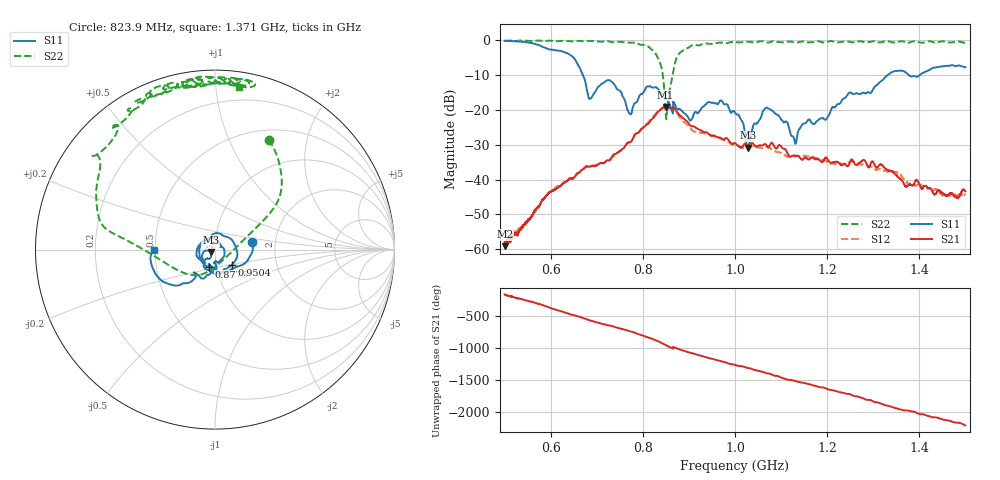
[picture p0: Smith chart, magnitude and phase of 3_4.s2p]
!Agilent Technologies,E8364B,US42250235,A.06.04.32
!Agilent E8364B: A.06.04.32
!Date: Thursday, October 01, 2020 11:11:46
!Correction: S11(Full 2 Port(1,2)) S21(Full 2 Port(1,2)) S12(Full 2 Port(1,2)) S22(Full 2 Port(1,2))
!S2P File: Measurements: S11, S21, S12, S22:
# Hz S  dB  R 50
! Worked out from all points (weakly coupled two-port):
!   2650 points, 500 MHz to 1.5 GHz, reference 50 ohm
!   highest |S21| = -19.16 dB at 849.2 MHz (marker M1); lowest = -59.1 dB at 500.4 MHz (marker M2)
!   lowest |S11| = -30.9 dB at 1.028 GHz (marker M3), VSWR 1.06, Z = 47.6 - j1.47 ohm
!   |S11| at or under -10 dB: 669.6 MHz to 1.332 GHz (662.3 MHz wide, 66.2 % of centre); 1.377 GHz to 1.401 GHz (24.68 MHz wide, 1.78 % of centre)
!   |S22| runs from -22.7 to -0.1 dB; largest |S21 - S12| = 0.047
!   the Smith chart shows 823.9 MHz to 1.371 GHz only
!   S11 on the Smith chart (normalised r, x): 823.9 MHz: 1.50, +0.14; 877.5 MHz: 0.92, -0.18; 950.4 MHz: 1.19, -0.20; 1.371 GHz: 0.49, -0.00
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5e8  -0.23 -175.2  -57.96 -172.8  -57.64 -162.0  -0.25 136.3
5.003775e8  -0.23 -175.3  -59.09 -174.3  -57.67 -166.1  -0.25 136.2
5.811627e8  -1.88 132.3  -45.87 27.5  -46.00 40.2  -0.28 133.0
6.347678e8  -3.71 93.4  -40.46 -100.2  -40.53 -88.9  -0.30 124.9
6.668554e8  -9.14 53.3  -37.30 -169.8  -37.37 -159.2  -0.34 121.0
6.849755e8  -16.76 71.1  -36.34 145.7  -36.47 155.9  -0.25 116.2
7.283881e8  -11.59 68.0  -34.47 63.4  -34.28 72.7  -0.48 114.4
7.714232e8  -21.12 53.5  -29.30 -24.6  -29.14 -13.0  -0.79 99.4
8.238958e8  -13.64 12.2  -22.20 -151.3  -21.79 -143.1  -3.35 63.9
8.337108e8  -14.20 -13.4  -20.46 179.0  -20.41 -174.1  -5.38 46.3
8.491884e8  -16.91 -51.1  -19.16 123.1  -19.01 131.0  -20.11 -4.1
8.775009e8  -19.74 -109.2  -21.23 60.7  -21.61 33.7  -4.09 168.9
9.035485e8  -23.05 123.1  -24.56 1.1  -25.32 -26.1  -1.77 141.9
9.503586e8  -17.98 -41.4  -27.49 -90.7  -27.29 -119.8  -1.09 124.5
1.000189e9  -20.87 -139.0  -29.57 171.7  -30.22 139.5  -0.57 118.5
1.027746e9  -30.86 -147.3  -30.48 125.3  -31.26 91.3  -0.47 113.2
1.067384e9  -19.41 -157.3  -29.98 47.8  -30.66 9.4  -0.67 111.3
1.129294e9  -28.82 26.9  -33.21 -72.6  -33.12 -105.8  -0.73 101.6
1.166667e9  -23.75 -85.6  -33.60 -136.5  -33.32 179.1  -0.66 95.5
1.333522e9  -9.85 -143.5  -37.35 -104.5  -37.76 -134.8  -0.37 83.2
1.370895e9  -9.31 -179.5  -42.00 -172.8  -40.62 146.8  -0.74 81.6
1.5e9  -7.83 136.6  -43.41 -46.9  -44.43 -80.2  -0.75 60.1
